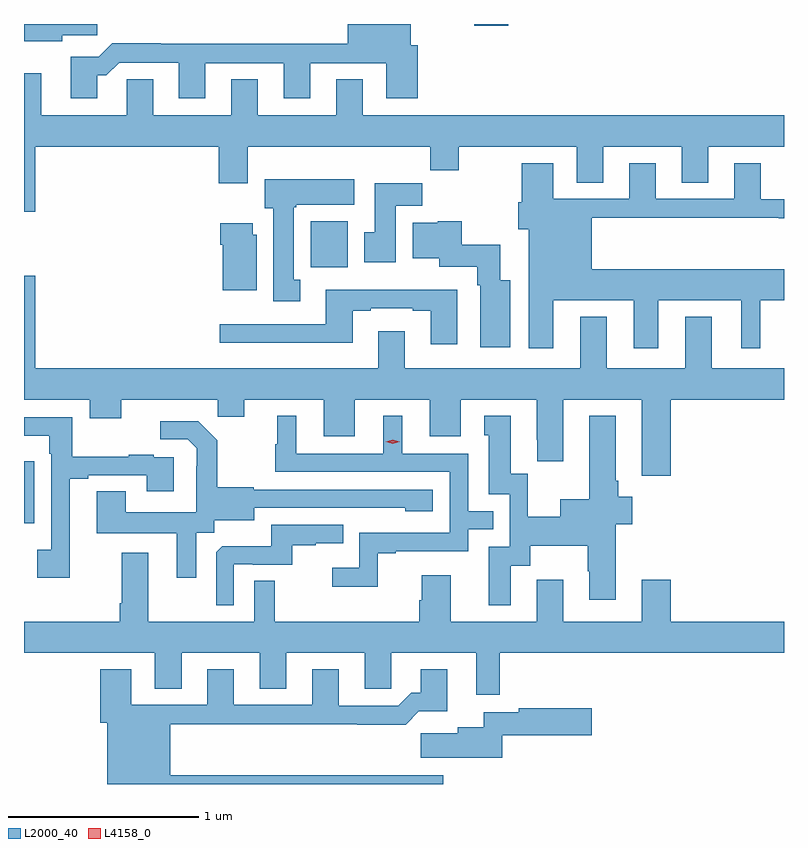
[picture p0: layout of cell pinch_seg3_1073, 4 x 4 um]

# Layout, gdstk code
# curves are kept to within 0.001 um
import gdstk
lib = gdstk.Library(unit=1e-6, precision=1e-09)
def R(c, l, rs):  # rectangles x0, y0, x1, y1
    for r in rs: c.add(gdstk.rectangle(r[:2], r[2:], *l))
def P(c, l, *ps):  # polygons
    for p in ps: c.add(gdstk.Polygon(p, *l))
L2000_40 = (2000, 40)
L4158_0 = (4158, 0)

pinch_seg3_1073 = lib.new_cell('pinch_seg3_1073')
R(pinch_seg3_1073, L2000_40, [(364.098,673.626,364.152,673.951), (365.606,674.972,365.803,675.214), (366.469,676.245,366.647,676.253)])
P(pinch_seg3_1073, L2000_40, [(364.483,675.983),(364.532,675.983),(364.599,676.05),(364.913,676.05),(364.913,675.861),(365.053,675.861),(365.053,676.047),(365.465,676.047),(365.465,675.861),(365.605,675.861),(365.605,676.047),(366.005,676.047),(366.005,675.861),(366.17,675.861),(366.17,676.14),(366.133,676.14),(366.133,676.253),(365.801,676.253),(365.801,676.148),(364.817,676.148),(364.817,676.151),(364.562,676.151),(364.492,676.081),(364.343,676.081),(364.343,675.861),(364.483,675.861)],
  [(364.299,676.195),(364.483,676.195),(364.483,676.253),(364.098,676.253),(364.098,676.163),(364.299,676.163)],
  [(364.157,675.608),(365.123,675.608),(365.123,675.414),(365.275,675.414),(365.275,675.608),(366.235,675.608),(366.235,675.484),(366.387,675.484),(366.387,675.608),(367.007,675.608),(367.007,675.418),(367.147,675.418),(367.147,675.608),(367.559,675.608),(367.559,675.418),(367.699,675.418),(367.699,675.608),(368.098,675.608),(368.098,675.772),(365.881,675.772),(365.881,675.962),(365.741,675.962),(365.741,675.772),(365.329,675.772),(365.329,675.962),(365.189,675.962),(365.189,675.772),(364.777,675.772),(364.777,675.962),(364.638,675.962),(364.638,675.772),(364.189,675.772),(364.189,675.994),(364.098,675.994),(364.098,675.264),(364.157,675.264)],
  [(366.883,674.798),(367.307,674.798),(367.307,674.547),(367.435,674.547),(367.435,674.798),(367.874,674.798),(367.874,674.547),(367.972,674.547),(367.972,674.798),(368.098,674.798),(368.098,674.962),(367.087,674.962),(367.087,675.232),(368.071,675.232),(368.071,675.23),(368.098,675.23),(368.098,675.33),(367.975,675.33),(367.975,675.52),(367.835,675.52),(367.835,675.333),(367.423,675.333),(367.423,675.52),(367.283,675.52),(367.283,675.333),(366.883,675.333),(366.883,675.52),(366.719,675.52),(366.719,675.315),(366.698,675.315),(366.698,675.173),(366.755,675.173),(366.755,674.547),(366.883,674.547)],
  [(365.551,674.906),(365.518,674.906),(365.518,675.289),(365.532,675.289),(365.532,675.302),(365.836,675.302),(365.836,675.436),(365.366,675.436),(365.366,675.282),(365.411,675.282),(365.411,674.793),(365.551,674.793)],
  [(366.055,675.296),(366.194,675.296),(366.194,675.415),(365.945,675.415),(365.945,675.156),(365.888,675.156),(365.888,675),(366.055,675)],
  [(366.658,674.905),(366.604,674.905),(366.604,675.092),(366.402,675.092),(366.402,675.214),(366.276,675.214),(366.276,675.208),(366.143,675.208),(366.143,675.02),(366.284,675.02),(366.284,674.976),(366.483,674.976),(366.483,674.879),(366.5,674.879),(366.5,674.553),(366.658,674.553)],
  [(365.323,675.144),(365.302,675.144),(365.302,675.205),(365.132,675.205),(365.132,675.092),(365.144,675.092),(365.144,674.852),(365.323,674.852)],
  [(367.502,674.276),(368.098,674.276),(368.098,674.44),(367.717,674.44),(367.717,674.713),(367.577,674.713),(367.577,674.44),(367.165,674.44),(367.165,674.713),(367.025,674.713),(367.025,674.44),(366.103,674.44),(366.103,674.635),(365.963,674.635),(365.963,674.44),(364.157,674.44),(364.157,674.929),(364.098,674.929),(364.098,674.276),(364.445,674.276),(364.445,674.177),(364.609,674.177),(364.609,674.276),(365.119,674.276),(365.119,674.186),(365.257,674.186),(365.257,674.276),(365.675,674.276),(365.675,674.082),(365.839,674.082),(365.839,674.276),(366.233,674.276),(366.233,674.082),(366.397,674.082),(366.397,674.276),(366.797,674.276),(366.797,674.065),(366.798,674.065),(366.798,673.953),(366.937,673.953),(366.937,674.276),(367.349,674.276),(367.349,673.875),(367.502,673.875)],
  [(366.379,674.854),(365.687,674.854),(365.687,674.673),(365.127,674.673),(365.127,674.576),(365.827,674.576),(365.827,674.745),(365.923,674.745),(365.923,674.757),(366.143,674.757),(366.143,674.745),(366.239,674.745),(366.239,674.568),(366.379,674.568)],
  [(366.661,673.402),(366.763,673.402),(366.763,673.508),(367.066,673.508),(367.066,673.374),(367.073,673.374),(367.073,673.224),(367.213,673.224),(367.213,673.619),(367.3,673.619),(367.3,673.766),(367.226,673.766),(367.226,673.849),(367.213,673.849),(367.213,674.191),(367.073,674.191),(367.073,673.753),(366.92,673.753),(366.92,673.66),(366.75,673.66),(366.75,673.887),(366.661,673.887),(366.661,674.191),(366.521,674.191),(366.521,674.088),(366.545,674.088),(366.545,673.779),(366.654,673.779),(366.654,673.503),(366.545,673.503),(366.545,673.194),(366.661,673.194)],
  [(365.961,673.467),(366.055,673.467),(366.055,673.479),(366.435,673.479),(366.435,673.593),(366.569,673.593),(366.569,673.689),(366.435,673.689),(366.435,673.992),(366.088,673.992),(366.088,674.191),(365.99,674.191),(365.99,673.992),(365.53,673.992),(365.53,674.191),(365.432,674.191),(365.432,674.04),(365.421,674.04),(365.421,673.896),(366.339,673.896),(366.339,673.575),(365.862,673.575),(365.862,673.39),(365.721,673.39),(365.721,673.292),(365.961,673.292)],
  [(364.339,673.86),(364.435,673.86),(364.435,673.878),(364.745,673.878),(364.745,673.794),(364.885,673.794),(364.885,673.974),(364.781,673.974),(364.781,673.987),(364.649,673.987),(364.649,673.976),(364.351,673.976),(364.351,674.184),(364.098,674.184),(364.098,674.087),(364.23,674.087),(364.23,673.991),(364.242,673.991),(364.242,673.486),(364.167,673.486),(364.167,673.338),(364.339,673.338)],
  [(365.005,673.576),(365.1,673.576),(365.1,673.64),(365.311,673.64),(365.311,673.707),(366.105,673.706),(366.105,673.688),(366.25,673.688),(366.25,673.803),(365.307,673.803),(365.307,673.816),(365.115,673.816),(365.115,674.061),(365.015,674.161),(364.815,674.161),(364.815,674.067),(364.959,674.067),(365.006,674.02),(365.006,673.925),(365.004,673.925),(365.004,673.684),(364.633,673.684),(364.633,673.793),(364.481,673.793),(364.481,673.574),(364.901,673.574),(364.901,673.338),(365.005,673.338)],
  [(365.202,673.41),(365.302,673.41),(365.302,673.407),(365.51,673.407),(365.51,673.509),(365.633,673.509),(365.633,673.52),(365.777,673.52),(365.777,673.617),(365.4,673.617),(365.4,673.505),(365.141,673.505),(365.109,673.473),(365.109,673.193),(365.202,673.193)],
  [(366.601,672.944),(368.098,672.944),(368.098,673.108),(367.502,673.108),(367.502,673.327),(367.349,673.327),(367.349,673.108),(366.937,673.108),(366.937,673.327),(366.797,673.327),(366.797,673.108),(366.343,673.108),(366.343,673.351),(366.191,673.351),(366.191,673.221),(366.179,673.221),(366.179,673.108),(365.419,673.108),(365.419,673.322),(365.31,673.322),(365.31,673.108),(364.753,673.108),(364.753,673.471),(364.613,673.471),(364.613,673.204),(364.601,673.204),(364.601,673.108),(364.098,673.108),(364.098,672.944),(364.787,672.944),(364.787,672.754),(364.927,672.754),(364.927,672.944),(365.339,672.944),(365.339,672.754),(365.479,672.754),(365.479,672.944),(365.891,672.944),(365.891,672.754),(366.03,672.754),(366.03,672.944),(366.479,672.944),(366.479,672.723),(366.601,672.723)],
  [(366.304,672.298),(364.867,672.298),(364.867,672.568),(365.851,672.568),(365.851,672.566),(366.107,672.566),(366.176,672.635),(366.325,672.635),(366.325,672.856),(366.185,672.856),(366.185,672.733),(366.136,672.733),(366.069,672.666),(365.755,672.666),(365.755,672.856),(365.615,672.856),(365.615,672.669),(365.203,672.669),(365.203,672.856),(365.063,672.856),(365.063,672.669),(364.663,672.669),(364.663,672.856),(364.499,672.856),(364.499,672.576),(364.535,672.576),(364.535,672.253),(366.304,672.253)],
  [(366.615,672.509),(367.087,672.509),(367.087,672.651),(366.702,672.651),(366.702,672.631),(366.519,672.631),(366.519,672.553),(366.38,672.553),(366.38,672.521),(366.186,672.521),(366.186,672.392),(366.615,672.392)])
P(pinch_seg3_1073, L4158_0, [(366.039,674.044),(366.003,674.054),(366.003,674.054),(366.003,674.055),(366.039,674.064),(366.075,674.055),(366.075,674.054),(366.075,674.054)])

lib.write_gds('pinch_seg3_1073.gds')
